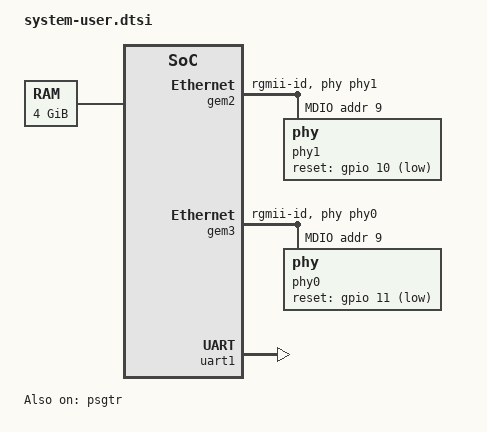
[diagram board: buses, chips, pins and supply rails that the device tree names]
/include/ "system-conf.dtsi"
/ {
    memory@0 {
        reg = <0x0 0x0 0x0 0x7ff00000 0x8 0x0 0x0 0x80000000>;
    };

    chosen {
        bootargs = "earlycon console=ttyPS0,115200 earlyprintk clk_ignore_unused cpuidle.off=1 root=/dev/ram0 rw init_fatal_sh=1";
        stdout-path = "serial0:115200n8";
    };


    xlnx {
        compatible = "xlnx,xlnk-1.0";
    };
    dru_clk: dru_clk {
        #clock-cells = <0>;
        clock-frequency = <100000000>;
        compatible = "fixed-clock";
    };
    sata_clk: sata_clk {
        compatible = "fixed-clock";
        #clock-cells = <0>;
        clock-frequency = <150000000>;
    };
    dp_clk: dp_clk {
        compatible = "fixed-clock";
        #clock-cells = <0>;
        clock-frequency = <135000000>;
    };


};

&zynqmp_dpsub{
    status = "disabled";
};

&nand0{
    status = "disabled";
};

&pcie{
    status = "disabled";
};

&psgtr {
    status = "okay";
    clocks = <&sata_clk>, <&dp_clk>, <&dp_clk>;
    clock-names = "ref1", "ref2", "ref3";
};


&gem2 {
    status = "okay";
    phy-handle = <&phy1>;
    phy-mode = "rgmii-id";
    phy-reset-duration = <2>;
    phy-reset-active-low;
    local-mac-address = [00 0a 35 30 02 00];

    psu_ethernet_1_mdio: mdio {
        #address-cells = <1>;
        #size-cells = <0>;
        phy1: phy@9 {
            reg = <9>;
            ti,rx-internal-delay = <0x8>;
            ti,tx-internal-delay = <0xa>;
            ti,fifo-depth = <0x1>;
            reset-gpios = <&gpio 10 1>;
        };
    };
};
&gem3 {
    status = "okay";
    phy-handle = <&phy0>;
    phy-mode = "rgmii-id";
    local-mac-address = [00 0a 35 30 02 01];

    psu_ethernet_2_mdio: mdio {
        #address-cells = <1>;
        #size-cells = <0>;
        phy0: phy@9 {
            reg = <0x9>;
            ti,rx-internal-delay = <0x8>;
            ti,tx-internal-delay = <0xa>;
            ti,fifo-depth = <0x1>;
            reset-gpios = <&gpio 11 1>;
        };
    };
};

&sata {
    status = "disabled";
    phy-names = "sata-phy";
    phys = <&psgtr 1 1 1 1>;

    ceva,p0-cominit-params = /bits/ 8 <0x18 0x40 0x18 0x28>;
    ceva,p0-comwake-params = /bits/ 8 <0x06 0x14 0x08 0x0E>;
    ceva,p0-burst-params = /bits/ 8 <0x13 0x08 0x4A 0x06>;
    ceva,p0-retry-params = /bits/ 16 <0x96A4 0x3FFC>;

    ceva,p1-cominit-params = /bits/ 8 <0x18 0x40 0x18 0x28>;
    ceva,p1-comwake-params = /bits/ 8 <0x06 0x14 0x08 0x0E>;
    ceva,p1-burst-params = /bits/ 8 <0x13 0x08 0x4A 0x06>;
    ceva,p1-retry-params = /bits/ 16 <0x96A4 0x3FFC>;
};


&uart0 {
    device_type = "serial";
    port-number = <1>;
    status = "disabled";
    u-boot,dm-pre-reloc ;
};
&uart1 {
    device_type = "serial";
    port-number = <0>;
    status = "okay";
    u-boot,dm-pre-reloc ;
};
